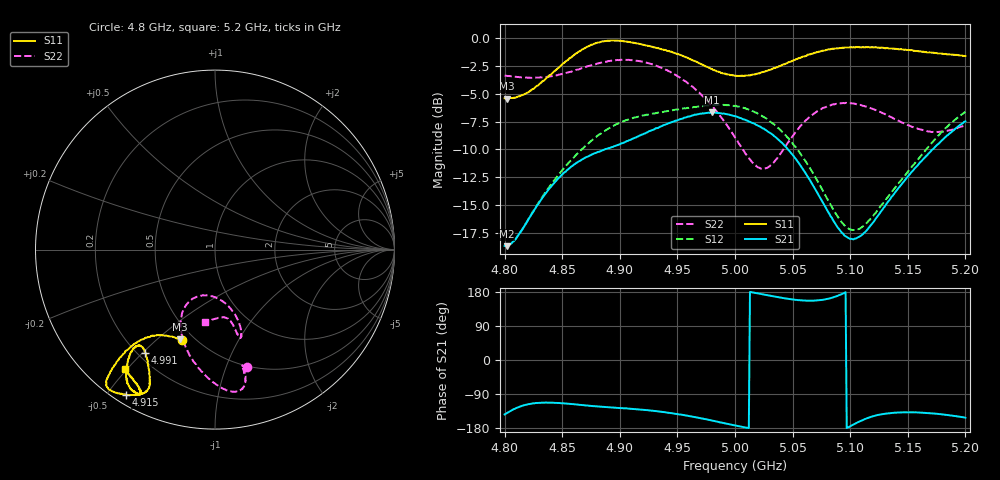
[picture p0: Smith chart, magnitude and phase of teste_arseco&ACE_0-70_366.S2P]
! Network Analyzer HP8722D
! Hewlett-Packard
! Data name: Linha & Wilkinson
! Saver's name: Rodrigo Anjos
! Comments: Teste da utilização de aquisição
! continua pelo VNA HP8722D
! Time and date: 8/5/2025 15:48
!  Frequency  S11  S21  S12  S22
# HZ  S  MA R 50
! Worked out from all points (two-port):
!   401 points, 4.8 GHz to 5.2 GHz, reference 50 ohm
!   highest |S21| = -6.67 dB at 4.98 GHz (marker M1); lowest = -18.7 dB at 4.802 GHz (marker M2)
!   |S21| within 3 dB of the highest: 4.896 GHz to 5.043 GHz (146.8 MHz wide, 2.95 % of centre); 5.174689 GHz to end of sweep
!   lowest |S11| = -5.4 dB at 4.802 GHz (marker M3), VSWR 3.30, Z = 21.3 - j29.8 ohm
!   |S11| at or under -10 dB: nowhere
!   |S22| runs from -11.7 to -1.9 dB; largest |S21 - S12| = 0.61
!   S11 on the Smith chart (normalised r, x): 4.8 GHz: 0.43, -0.61; 4.915 GHz: 0.04, -0.56; 4.991 GHz: 0.23, -0.51; 5.2 GHz: 0.11, -0.49
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4.8e9  0.5376 -109.9  0.1165 -143.6  0.1164 -87.8  0.6791 -74.7
4.802e9  0.5353 -111.2  0.116 -140.1  0.1166 -83.9  0.6774 -74.8
4.811e9  0.5458 -117.5  0.1281 -125.8  0.1283 -69.2  0.6695 -75.8
4.833e9  0.6411 -128.8  0.1924 -112.7  0.1942 -53.4  0.6673 -77.0
4.867e9  0.8881 -130.6  0.2845 -118.9  0.3163 -53.1  0.734 -76.6
4.887e9  0.9718 -128.4  0.3164 -124.2  0.3834 -57.8  0.7838 -78.3
4.915e9  0.948 -121.5  0.3601 -130.1  0.4427 -66.4  0.7925 -84.3
4.934e9  0.9018 -116.9  0.3974 -136.0  0.464 -72.0  0.7439 -90.2
4.953e9  0.8395 -115.7  0.4334 -144.0  0.48 -78.1  0.6608 -98.3
4.98e9  0.7282 -120.9  0.4638 -159.6  0.4999 -89.2  0.4962 -112.2
4.991e9  0.6952 -123.9  0.4574 -166.9  0.5005 -94.9  0.4208 -116.5
5e9  0.6793 -126.2  0.4465 -172.7  0.4971 -100.0  0.3582 -117.7
5.017e9  0.6871 -128.8  0.4125 177.5  0.4649 -110.0  0.2702 -107.8
5.027e9  0.712 -129.4  0.3859 171.6  0.437 -115.5  0.2605 -94.1
5.048e9  0.7859 -128.1  0.3079 160.6  0.3465 -125.2  0.3509 -74.4
5.067e9  0.8528 -125.4  0.221 156.6  0.2509 -128.0  0.4519 -71.9
5.09e9  0.9021 -121.7  0.1392 170.7  0.1551 -113.4  0.5086 -73.4
5.101e9  0.9116 -120.0  0.1252 -173.2  0.1376 -96.5  0.5101 -74.3
5.113e9  0.9121 -118.2  0.1344 -155.6  0.1453 -78.0  0.494 -75.0
5.134e9  0.9004 -117.3  0.1869 -140.5  0.1972 -60.2  0.4455 -76.1
5.17e9  0.8628 -121.0  0.3101 -140.5  0.3345 -55.3  0.3792 -82.6
5.2e9  0.8322 -127.1  0.423 -152.4  0.4668 -65.2  0.4068 -98.0
